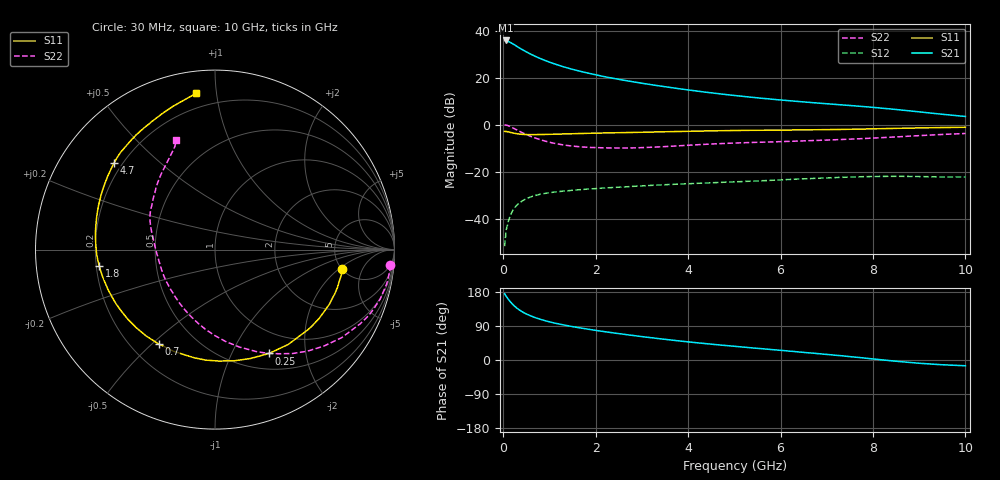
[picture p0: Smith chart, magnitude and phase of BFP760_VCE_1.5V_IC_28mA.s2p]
! Infineon Technologies  Discrete & RF Semiconductors
! BFP760
! VCE =  1.5 V,  IC =  28 mA
! Common Emitter S-Parameters:  Nov 2012
# GHz  S  MA  R  50
!  f  S11  S21  S12  S22
! GHz  MAG  ANG  MAG  ANG  MAG  ANG  MAG  ANG
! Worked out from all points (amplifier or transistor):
!   99 points, 30 MHz to 10 GHz, reference 50 ohm
!   highest |S21| = 35.8 dB at 50 MHz (marker M1)
!   |S21| within 3 dB of that: start of sweep to 335.9 MHz
!   unconditionally stable (mu >= 1): 4.236 GHz to end of sweep
!   at 350 MHz: K = 0.26, MSG = 32.9 dB, |S12| = -33.3 dB
!   at 3.5 GHz: K = 0.93, MSG = 20.8 dB, |S12| = -25.6 dB
!   at 10 GHz: K = 1.10, MAG = 11.0 dB, |S12| = -22.3 dB
!   S11 on the Smith chart (normalised r, x): 30 MHz: 5.03, -2.25; 250 MHz: 0.70, -1.40; 700 MHz: 0.31, -0.52; 1.8 GHz: 0.21, -0.07; 4.7 GHz: 0.17, +0.36; 10 GHz: 0.12, +0.88
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0.03  0.717 -8.7  61.13 174.9  0.0026 97.4  0.9793 -5.1
0.05  0.7144 -14.4  61.53 170.6  0.0041 82.0  0.9781 -9.1
0.1  0.7012 -28.1  59.23 161.9  0.0081 77.3  0.9518 -18.5
0.15  0.6834 -40.9  56.12 154.1  0.0115 73.4  0.9083 -27.1
0.2  0.6676 -52.4  52.57 147.4  0.0145 66.6  0.8596 -34.8
0.25  0.652 -62.6  49.21 141.6  0.0172 63.7  0.8101 -41.6
0.35  0.6286 -80.4  42.69 132.0  0.0217 56.6  0.7213 -53.4
0.45  0.6179 -94.6  37.45 124.6  0.0252 51.1  0.6472 -63.2
0.6  0.6117 -111.8  31.3 116.1  0.0291 45.9  0.5593 -76.0
0.7  0.6123 -120.9  28.1 111.5  0.0312 42.7  0.5148 -83.5
0.9  0.618 -135.4  23.21 103.9  0.0344 38.3  0.4468 -96.9
1.1  0.6244 -146.6  19.66 97.8  0.0367 35.5  0.4007 -108.4
1.4  0.6357 -159.2  15.93 90.3  0.0393 32.8  0.3589 -123.0
1.7  0.6472 -169.0  13.36 84.0  0.0416 31.1  0.3344 -135.6
1.8  0.6513 -171.8  12.67 82.0  0.0424 30.7  0.3309 -139.5
2.5  0.6728 171.9  9.172 69.6  0.0466 28.9  0.3176 -161.9
3.4  0.7003 155.9  6.604 55.9  0.0521 27.2  0.337 175.9
4.7  0.7408 139.4  4.493 39.5  0.059 25.0  0.3943 156.5
5.1  0.7506 135.9  4.066 35.1  0.0612 24.3  0.4086 152.5
6.7  0.7767 124.0  2.927 18.1  0.0716 20.5  0.4578 137.5
8.5  0.8318 106.4  2.097 -3.3  0.0794 10.2  0.5471 120.0
10  0.8783 96.9  1.488 -15.2  0.0769 5.9  0.6472 109.6
